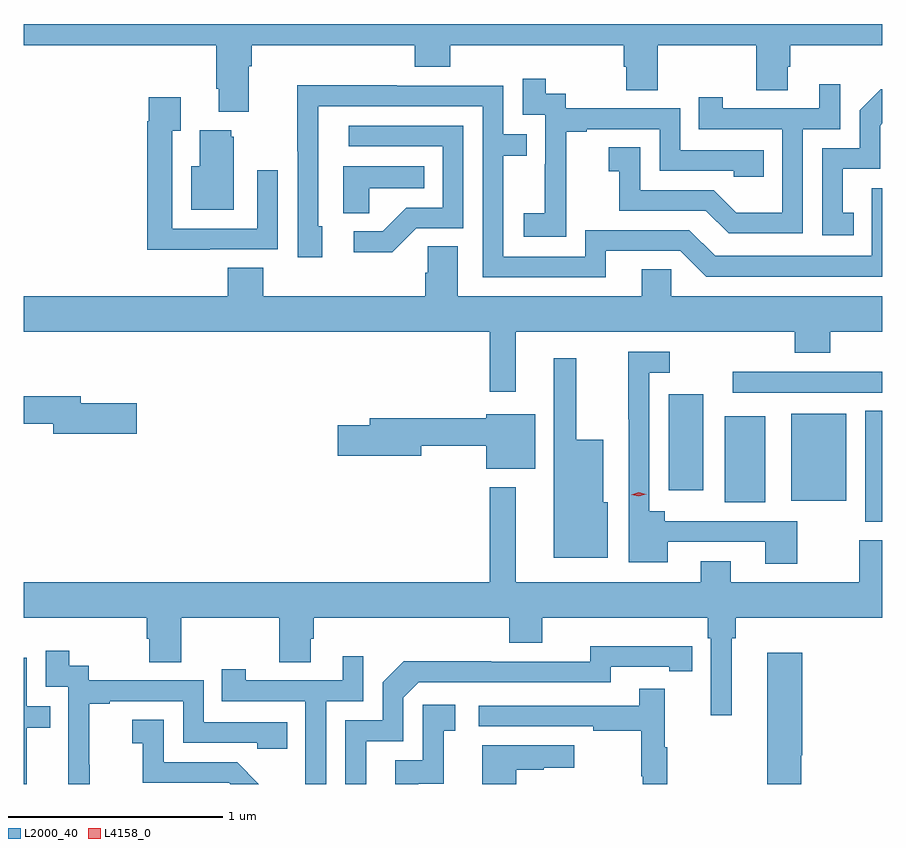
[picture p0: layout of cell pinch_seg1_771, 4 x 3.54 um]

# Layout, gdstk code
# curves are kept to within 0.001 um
import gdstk
lib = gdstk.Library(unit=1e-6, precision=1e-09)
def R(c, l, rs):  # rectangles x0, y0, x1, y1
    for r in rs: c.add(gdstk.rectangle(r[:2], r[2:], *l))
def P(c, l, *ps):  # polygons
    for p in ps: c.add(gdstk.Polygon(p, *l))
L2000_40 = (2000, 40)
L4158_0 = (4158, 0)

pinch_seg1_771 = lib.new_cell('pinch_seg1_771')
R(pinch_seg1_771, L2000_40, [(547.856,581.483,547.937,581.999), (547.202,581.573,547.39,581.974), (547.511,581.579,547.768,581.986), (546.941,581.628,547.102,582.076), (547.239,582.084,547.937,582.18)])
P(pinch_seg1_771, L2000_40, [(544.987,583.604),(545,583.604),(545,583.7),(545.759,583.7),(545.759,583.601),(545.924,583.601),(545.924,583.7),(546.731,583.7),(546.731,583.602),(546.743,583.602),(546.743,583.492),(546.891,583.492),(546.891,583.7),(547.348,583.7),(547.348,583.492),(547.495,583.492),(547.495,583.602),(547.508,583.602),(547.508,583.7),(547.937,583.7),(547.937,583.8),(543.937,583.8),(543.937,583.7),(544.835,583.7),(544.835,583.498),(544.847,583.498),(544.847,583.391),(544.987,583.391)],
  [(546.465,583.015),(546.464,583.015),(546.464,583.299),(546.559,583.299),(546.559,583.311),(546.9,583.311),(546.9,583.116),(547.245,583.116),(547.245,583.089),(547.385,583.089),(547.385,583.212),(546.996,583.212),(546.996,583.407),(546.462,583.407),(546.462,583.476),(546.37,583.476),(546.37,583.546),(546.261,583.546),(546.261,583.377),(546.366,583.377),(546.366,583.148),(546.365,583.148),(546.365,582.919),(546.267,582.919),(546.267,582.809),(546.465,582.809)],
  [(547.566,583.311),(547.74,583.311),(547.74,583.519),(547.643,583.519),(547.643,583.407),(547.192,583.407),(547.192,583.459),(547.081,583.459),(547.081,583.311),(547.47,583.311),(547.47,582.922),(547.256,582.922),(547.152,583.026),(546.81,583.026),(546.81,583.225),(546.663,583.225),(546.663,583.115),(546.712,583.115),(546.712,582.93),(547.115,582.93),(547.22,582.825),(547.566,582.825)],
  [(546.649,582.744),(546.996,582.744),(547.116,582.624),(547.937,582.624),(547.937,583.035),(547.887,583.035),(547.887,582.72),(547.158,582.72),(547.038,582.84),(546.552,582.84),(546.552,582.717),(546.171,582.717),(546.171,583.186),(546.281,583.186),(546.281,583.287),(546.171,583.287),(546.171,583.512),(545.675,583.512),(545.675,583.514),(545.212,583.514),(545.212,583.207),(545.214,583.207),(545.214,582.714),(545.329,582.714),(545.329,582.858),(545.31,582.858),(545.31,583.416),(546.075,583.416),(546.075,582.621),(546.649,582.621)],
  [(547.802,582.921),(547.753,582.921),(547.753,583.125),(547.926,583.125),(547.926,583.326),(547.937,583.337),(547.937,583.496),(547.928,583.496),(547.83,583.398),(547.83,583.221),(547.656,583.221),(547.656,582.816),(547.802,582.816)],
  [(544.805,582.75),(545.121,582.75),(545.121,583.12),(545.025,583.12),(545.025,582.846),(544.629,582.846),(544.629,583.303),(544.669,583.303),(544.669,583.459),(544.521,583.459),(544.521,583.346),(544.513,583.346),(544.513,582.749),(544.805,582.749)],
  [(545.766,582.849),(545.985,582.849),(545.985,583.326),(545.451,583.326),(545.451,583.23),(545.889,583.23),(545.889,582.945),(545.72,582.945),(545.609,582.834),(545.475,582.834),(545.475,582.737),(545.653,582.737)],
  [(544.915,583.275),(544.904,583.275),(544.904,583.306),(544.757,583.306),(544.757,583.138),(544.718,583.138),(544.718,582.935),(544.915,582.935)],
  [(545.547,583.034),(545.804,583.034),(545.804,583.138),(545.426,583.138),(545.426,582.919),(545.547,582.919)],
  [(546.229,582.368),(547.529,582.368),(547.529,582.269),(547.694,582.269),(547.694,582.368),(547.937,582.368),(547.937,582.532),(546.954,582.532),(546.954,582.659),(546.815,582.659),(546.815,582.532),(545.959,582.532),(545.959,582.764),(545.82,582.764),(545.82,582.641),(545.807,582.641),(545.807,582.532),(545.054,582.532),(545.054,582.665),(544.889,582.665),(544.889,582.532),(543.937,582.532),(543.937,582.368),(546.108,582.368),(546.108,582.087),(546.229,582.087)],
  [(547.539,581.484),(546.922,581.484),(546.922,581.53),(546.852,581.53),(546.852,582.177),(546.946,582.177),(546.946,582.273),(546.754,582.273),(546.754,581.959),(546.756,581.959),(546.756,581.294),(546.937,581.294),(546.937,581.388),(547.391,581.388),(547.391,581.286),(547.539,581.286)],
  [(546.658,581.574),(546.637,581.574),(546.637,581.863),(546.511,581.863),(546.511,582.244),(546.407,582.244),(546.407,581.315),(546.658,581.315)],
  [(544.465,582.033),(544.204,582.033),(544.204,582.067),(543.937,582.067),(543.937,581.938),(544.076,581.938),(544.076,581.891),(544.465,581.891)],
  [(546.319,581.983),(546.092,581.983),(546.092,581.965),(545.549,581.965),(545.549,581.931),(545.4,581.931),(545.4,581.789),(545.788,581.789),(545.788,581.836),(546.092,581.836),(546.092,581.729),(546.319,581.729)],
  [(543.937,581.036),(544.511,581.036),(544.511,580.938),(544.523,580.938),(544.523,580.828),(544.671,580.828),(544.671,581.036),(545.128,581.036),(545.128,580.828),(545.275,580.828),(545.275,580.938),(545.288,580.938),(545.288,581.036),(546.2,581.036),(546.2,580.919),(546.352,580.919),(546.352,581.036),(547.124,581.036),(547.124,580.94),(547.137,580.94),(547.137,580.581),(547.234,580.581),(547.234,580.94),(547.253,580.94),(547.253,581.036),(547.937,581.036),(547.937,581.395),(547.828,581.395),(547.828,581.2),(547.231,581.2),(547.231,581.299),(547.091,581.299),(547.091,581.2),(546.229,581.2),(546.229,581.644),(546.108,581.644),(546.108,581.2),(543.937,581.2)],
  [(545.533,580.461),(545.706,580.461),(545.706,580.662),(545.778,580.734),(546.672,580.734),(546.672,580.806),(546.944,580.806),(546.944,580.786),(547.052,580.786),(547.052,580.902),(546.576,580.903),(546.576,580.83),(546.116,580.83),(546.116,580.832),(545.708,580.832),(545.61,580.734),(545.61,580.557),(545.436,580.557),(545.436,580.261),(545.533,580.261)],
  [(544.245,580.351),(544.244,580.351),(544.244,580.635),(544.339,580.635),(544.339,580.647),(544.68,580.647),(544.68,580.452),(545.025,580.452),(545.025,580.425),(545.165,580.425),(545.165,580.548),(544.776,580.548),(544.776,580.743),(544.242,580.743),(544.242,580.812),(544.15,580.812),(544.15,580.882),(544.041,580.882),(544.041,580.713),(544.146,580.713),(544.146,580.484),(544.145,580.484),(544.145,580.261),(544.245,580.261)],
  [(547.559,580.395),(547.564,580.395),(547.564,580.873),(547.4,580.873),(547.4,580.261),(547.559,580.261)],
  [(545.346,580.647),(545.52,580.647),(545.52,580.855),(545.423,580.855),(545.423,580.743),(544.972,580.743),(544.972,580.795),(544.861,580.795),(544.861,580.647),(545.25,580.647),(545.25,580.261),(545.346,580.261)],
  [(543.951,580.522),(544.061,580.522),(544.061,580.623),(543.951,580.623),(543.951,580.848),(543.937,580.848),(543.937,580.261),(543.951,580.261)],
  [(546.934,580.433),(546.923,580.433),(546.923,580.705),(546.805,580.705),(546.805,580.626),(546.057,580.626),(546.057,580.53),(546.589,580.53),(546.589,580.51),(546.813,580.51),(546.813,580.296),(546.82,580.296),(546.82,580.261),(546.934,580.261)],
  [(545.776,580.263),(545.894,580.263),(545.894,580.509),(545.947,580.509),(545.947,580.63),(545.796,580.63),(545.796,580.371),(545.667,580.371),(545.667,580.261),(545.776,580.261)],
  [(544.932,580.362),(544.59,580.362),(544.59,580.561),(544.443,580.561),(544.443,580.451),(544.492,580.451),(544.492,580.266),(544.895,580.266),(544.9,580.261),(545.033,580.261)],
  [(546.232,580.327),(546.359,580.327),(546.359,580.337),(546.502,580.337),(546.502,580.441),(546.074,580.441),(546.074,580.261),(546.232,580.261)])
P(pinch_seg1_771, L4158_0, [(546.802,581.6),(546.767,581.608),(546.767,581.608),(546.767,581.609),(546.802,581.62),(546.837,581.611),(546.837,581.611),(546.837,581.611)])

lib.write_gds('pinch_seg1_771.gds')
